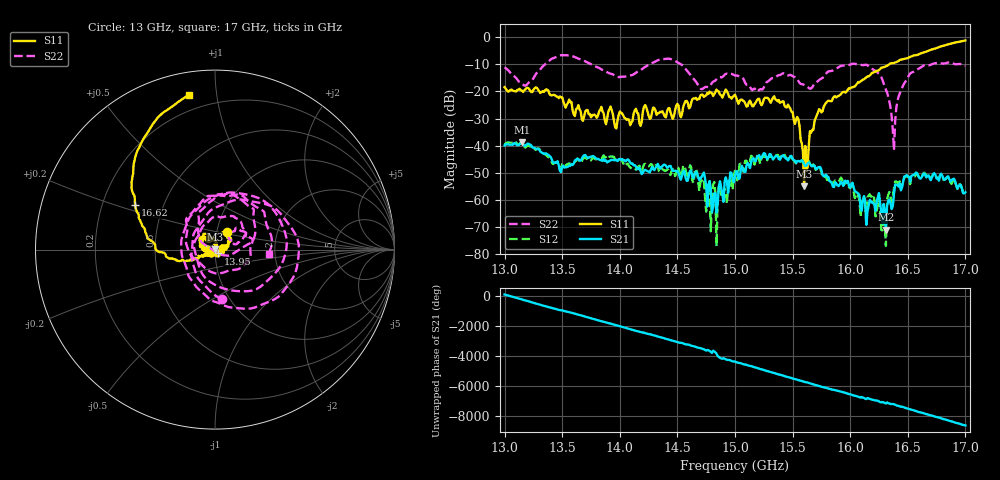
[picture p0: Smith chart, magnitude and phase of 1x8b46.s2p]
!Keysight Technologies,P9374A,MY57211807,A.19.30.04
!Date: Friday, May 08, 2026 14:28:47
!Correction: S11(C  2-Port  )
!S21(C  2-Port  )
!S12(C  2-Port  )
!S22(C  2-Port  )
!S2P File: Measurements: S11, S21, S12, S22:
# Hz S  dB  R 50
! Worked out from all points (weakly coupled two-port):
!   401 points, 13 GHz to 17 GHz, reference 50 ohm
!   highest |S21| = -38.76 dB at 13.15 GHz (marker M1); lowest = -71.1 dB at 16.31 GHz (marker M2)
!   lowest |S11| = -55.1 dB at 15.6 GHz (marker M3), VSWR 1.00, Z = 50.1 + j0.155 ohm
!   |S11| at or under -10 dB: start of sweep to 16.34 GHz
!   |S22| runs from -41.6 to -6.6 dB; largest |S21 - S12| = 0.0022
!   S11 on the Smith chart (normalised r, x): 13 GHz: 1.12, +0.23; 13.95 GHz: 1.04, -0.04; 16.62 GHz: 0.34, +0.23; 17 GHz: 0.11, +0.84
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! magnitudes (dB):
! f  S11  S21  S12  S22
! 13 GHz  -18.4  -39.9  -39.6  -11.1
! 13.15 GHz  -19.7  -38.8  -39.0  -17.1
! 13.5 GHz  -22.1  -47.9  -46.8  -6.6
! 13.67 GHz  -30.1  -44.9  -45.8  -8.3
! 13.95 GHz  -31.1  -45.3  -44.2  -14.0
! 14.34 GHz  -28.0  -47.8  -49.4  -8.3
! 14.72 GHz  -21.2  -50.7  -52.1  -19.0
! 14.82 GHz  -21.0  -57.6  -53.4  -16.2
! 15 GHz  -21.2  -51.4  -49.3  -14.1
! 15.2 GHz  -22.7  -43.8  -44.5  -19.9
! 15.48 GHz  -26.3  -43.8  -43.8  -13.9
! 15.6 GHz  -55.1  -46.9  -46.8  -17.6
! 15.67 GHz  -34.2  -47.7  -47.2  -18.5
! 16.03 GHz  -18.3  -55.5  -56.8  -9.7
! 16.19 GHz  -13.1  -61.1  -58.7  -11.7
! 16.29 GHz  -11.0  -61.6  -63.4  -17.0
! 16.31 GHz  -10.6  -71.1  -77.0  -19.4
! 16.34 GHz  -10.0  -60.0  -57.1  -23.7
! 16.38 GHz  -9.5  -57.9  -55.7  -41.6
! 16.45 GHz  -8.1  -55.5  -54.7  -18.6
! 16.62 GHz  -5.9  -51.7  -51.6  -10.9
! 17 GHz  -1.2  -57.2  -57.2  -10.5
